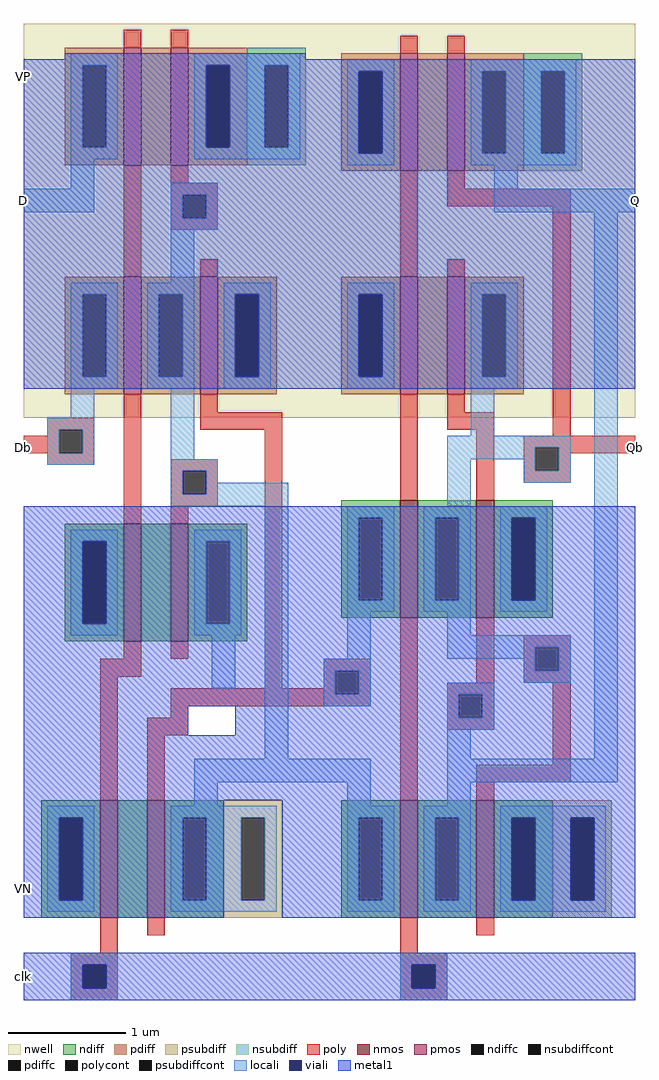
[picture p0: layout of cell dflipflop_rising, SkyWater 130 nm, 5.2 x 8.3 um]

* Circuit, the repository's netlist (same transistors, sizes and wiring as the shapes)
* SPICE3 file created from /home/madvlsi/Documents/Miniproject2/dflipflop_rising.ext - technology: sky130A

.subckt home/madvlsi/Documents/Miniproject2/dflipflop_rising clk VN Db VP D Qb
X0 a_30_450# clk VN VN sky130_fd_pr__nfet_01v8 ad=2.5e+11p pd=2.5e+06u as=3e+12p ps=1.8e+07u w=1e+06u l=150000u
X1 VP Qb a_500_1250# VP sky130_fd_pr__pfet_01v8 ad=2.5e+12p pd=1.5e+07u as=2.5e+11p ps=2.5e+06u w=1e+06u l=150000u
X2 VN Qb VP VN sky130_fd_pr__nfet_01v8 ad=0p pd=0u as=1.5e+12p ps=9e+06u w=1e+06u l=150000u
X3 VP VN a_30_1260# VP sky130_fd_pr__pfet_01v8 ad=0p pd=0u as=2.5e+11p ps=2.5e+06u w=1e+06u l=150000u
X4 VP a_40_n50# VN VP sky130_fd_pr__pfet_01v8 ad=0p pd=0u as=1.5e+12p ps=9e+06u w=1e+06u l=150000u
X5 VP clk VN VN sky130_fd_pr__nfet_01v8 ad=0p pd=0u as=0p ps=0u w=1e+06u l=150000u
X6 VN a_40_n50# a_n10_n20# VN sky130_fd_pr__nfet_01v8 ad=0p pd=0u as=2.5e+11p ps=2.5e+06u w=1e+06u l=150000u
X7 a_30_1260# clk D VP sky130_fd_pr__pfet_01v8 ad=0p pd=0u as=5e+11p ps=3e+06u w=1e+06u l=150000u
X8 a_n10_n20# clk VN VN sky130_fd_pr__nfet_01v8 ad=0p pd=0u as=0p ps=0u w=1e+06u l=150000u
X9 Qb VP a_500_870# VP sky130_fd_pr__pfet_01v8 ad=5e+11p pd=3e+06u as=2.5e+11p ps=2.5e+06u w=1e+06u l=150000u
X10 a_500_1250# clk VP VP sky130_fd_pr__pfet_01v8 ad=0p pd=0u as=0p ps=0u w=1e+06u l=150000u
X11 VN VP Qb VN sky130_fd_pr__nfet_01v8 ad=0p pd=0u as=5e+11p ps=3e+06u w=1e+06u l=150000u
X12 a_110_450# VN a_30_450# VN sky130_fd_pr__nfet_01v8 ad=5e+11p pd=3e+06u as=0p ps=0u w=1e+06u l=150000u
X13 a_500_870# clk VP VP sky130_fd_pr__pfet_01v8 ad=0p pd=0u as=0p ps=0u w=1e+06u l=150000u
X14 VN clk Db VP sky130_fd_pr__pfet_01v8 ad=0p pd=0u as=5e+11p ps=3e+06u w=1e+06u l=150000u
X15 Qb clk a_40_n50# VN sky130_fd_pr__nfet_01v8 ad=0p pd=0u as=5e+11p ps=3e+06u w=1e+06u l=150000u
.ends

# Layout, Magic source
magic
tech sky130A
<< nwell >>
rect -85 415 435 750
<< nmos >>
rect 0 225 15 325
rect 40 225 55 325
rect 235 245 250 345
rect 300 245 315 345
rect -20 -10 -5 90
rect 20 -10 35 90
rect 235 -10 250 90
rect 300 -10 315 90
<< pmos >>
rect 0 630 15 730
rect 40 630 55 730
rect 235 625 250 725
rect 275 625 290 725
rect 0 435 15 535
rect 65 435 80 535
rect 235 435 250 535
rect 275 435 290 535
<< ndiff >>
rect -50 310 0 325
rect -50 240 -35 310
rect -15 240 0 310
rect -50 225 0 240
rect 15 225 40 325
rect 55 310 105 325
rect 55 240 70 310
rect 90 240 105 310
rect 55 225 105 240
rect 185 330 235 345
rect 185 260 200 330
rect 220 260 235 330
rect 185 245 235 260
rect 250 330 300 345
rect 250 260 265 330
rect 285 260 300 330
rect 250 245 300 260
rect 315 330 365 345
rect 315 260 330 330
rect 350 260 365 330
rect 315 245 365 260
rect -70 75 -20 90
rect -70 5 -55 75
rect -35 5 -20 75
rect -70 -10 -20 5
rect -5 -10 20 90
rect 35 75 85 90
rect 35 5 50 75
rect 70 5 85 75
rect 35 -10 85 5
rect 185 75 235 90
rect 185 5 200 75
rect 220 5 235 75
rect 185 -10 235 5
rect 250 75 300 90
rect 250 5 265 75
rect 285 5 300 75
rect 250 -10 300 5
rect 315 75 365 90
rect 315 5 330 75
rect 350 5 365 75
rect 315 -10 365 5
<< pdiff >>
rect -50 715 0 730
rect -50 645 -35 715
rect -15 645 0 715
rect -50 630 0 645
rect 15 630 40 730
rect 55 715 105 730
rect 55 645 70 715
rect 90 645 105 715
rect 55 630 105 645
rect 185 710 235 725
rect 185 640 200 710
rect 220 640 235 710
rect 185 625 235 640
rect 250 625 275 725
rect 290 710 340 725
rect 290 640 305 710
rect 325 640 340 710
rect 290 625 340 640
rect -50 520 0 535
rect -50 450 -35 520
rect -15 450 0 520
rect -50 435 0 450
rect 15 520 65 535
rect 15 450 30 520
rect 50 450 65 520
rect 15 435 65 450
rect 80 520 130 535
rect 80 450 95 520
rect 115 450 130 520
rect 80 435 130 450
rect 185 520 235 535
rect 185 450 200 520
rect 220 450 235 520
rect 185 435 235 450
rect 250 435 275 535
rect 290 520 340 535
rect 290 450 305 520
rect 325 450 340 520
rect 290 435 340 450
<< ndiffc >>
rect -35 240 -15 310
rect 70 240 90 310
rect 200 260 220 330
rect 265 260 285 330
rect 330 260 350 330
rect -55 5 -35 75
rect 50 5 70 75
rect 200 5 220 75
rect 265 5 285 75
rect 330 5 350 75
<< pdiffc >>
rect -35 645 -15 715
rect 70 645 90 715
rect 200 640 220 710
rect 305 640 325 710
rect -35 450 -15 520
rect 30 450 50 520
rect 95 450 115 520
rect 200 450 220 520
rect 305 450 325 520
<< psubdiff >>
rect 85 75 135 90
rect 85 5 100 75
rect 120 5 135 75
rect 85 -10 135 5
rect 365 75 415 90
rect 365 5 380 75
rect 400 5 415 75
rect 365 -10 415 5
<< nsubdiff >>
rect 105 715 155 730
rect 105 645 120 715
rect 140 645 155 715
rect 105 630 155 645
rect 340 710 390 725
rect 340 640 355 710
rect 375 640 390 710
rect 340 625 390 640
<< psubdiffcont >>
rect 100 5 120 75
rect 380 5 400 75
<< nsubdiffcont >>
rect 120 645 140 715
rect 355 640 375 710
<< poly >>
rect 0 730 15 745
rect 40 730 55 745
rect 235 725 250 740
rect 275 725 290 740
rect 0 535 15 630
rect 40 615 55 630
rect 40 605 80 615
rect 40 585 50 605
rect 70 585 80 605
rect 40 575 80 585
rect 65 535 80 550
rect 235 535 250 625
rect 275 610 290 625
rect 275 595 380 610
rect 275 535 290 550
rect -65 405 -25 415
rect -65 400 -55 405
rect -85 385 -55 400
rect -35 385 -25 405
rect -65 375 -25 385
rect 0 325 15 435
rect 65 420 80 435
rect 65 405 135 420
rect 40 370 80 380
rect 40 350 50 370
rect 70 350 80 370
rect 40 340 80 350
rect 40 325 55 340
rect 0 210 15 225
rect 40 210 55 225
rect -20 195 15 210
rect -20 90 -5 195
rect 120 185 135 405
rect 235 345 250 435
rect 275 420 290 435
rect 275 405 315 420
rect 300 345 315 405
rect 365 400 380 595
rect 340 390 435 400
rect 340 370 350 390
rect 370 385 435 390
rect 370 370 380 385
rect 340 360 380 370
rect 170 200 210 210
rect 170 185 180 200
rect 40 180 180 185
rect 200 180 210 200
rect 40 170 210 180
rect 40 160 55 170
rect 20 145 55 160
rect 20 90 35 145
rect 235 90 250 245
rect 300 190 315 245
rect 340 220 380 230
rect 340 200 350 220
rect 370 200 380 220
rect 340 190 380 200
rect 275 180 315 190
rect 275 160 285 180
rect 305 160 315 180
rect 275 150 315 160
rect 365 120 380 190
rect 300 105 380 120
rect 300 90 315 105
rect -20 -40 -5 -10
rect 20 -25 35 -10
rect -45 -50 -5 -40
rect -45 -70 -35 -50
rect -15 -70 -5 -50
rect -45 -80 -5 -70
rect 235 -40 250 -10
rect 300 -25 315 -10
rect 235 -50 275 -40
rect 235 -70 245 -50
rect 265 -70 275 -50
rect 235 -80 275 -70
<< polycont >>
rect 50 585 70 605
rect -55 385 -35 405
rect 50 350 70 370
rect 350 370 370 390
rect 180 180 200 200
rect 350 200 370 220
rect 285 160 305 180
rect -35 -70 -15 -50
rect 245 -70 265 -50
<< locali >>
rect -45 715 -5 725
rect -45 645 -35 715
rect -15 645 -5 715
rect -45 635 -5 645
rect 60 715 150 725
rect 60 645 70 715
rect 90 645 120 715
rect 140 645 150 715
rect 60 635 150 645
rect 190 710 230 720
rect 190 640 200 710
rect 220 640 230 710
rect -45 610 -25 635
rect 190 630 230 640
rect 295 710 385 720
rect 295 640 305 710
rect 325 640 355 710
rect 375 640 385 710
rect 295 630 385 640
rect -85 590 -25 610
rect 40 605 80 615
rect 40 585 50 605
rect 70 585 80 605
rect 315 610 335 630
rect 315 590 435 610
rect 40 575 80 585
rect 40 530 60 575
rect -45 520 -5 530
rect -45 450 -35 520
rect -15 450 -5 520
rect -45 440 -5 450
rect 20 520 60 530
rect 20 450 30 520
rect 50 450 60 520
rect 20 440 60 450
rect 85 520 125 530
rect 85 450 95 520
rect 115 450 125 520
rect 85 440 125 450
rect 190 520 230 530
rect 190 450 200 520
rect 220 450 230 520
rect 190 440 230 450
rect 295 520 335 530
rect 295 450 305 520
rect 325 450 335 520
rect 295 440 335 450
rect -45 415 -25 440
rect -65 405 -25 415
rect -65 385 -55 405
rect -35 385 -25 405
rect -65 375 -25 385
rect 40 380 60 440
rect 295 400 315 440
rect 275 390 380 400
rect 275 380 350 390
rect 40 370 80 380
rect 40 350 50 370
rect 70 360 80 370
rect 70 350 140 360
rect 40 340 140 350
rect 275 340 295 380
rect 340 370 350 380
rect 370 370 380 390
rect 340 360 380 370
rect -45 310 -5 320
rect -45 240 -35 310
rect -15 240 -5 310
rect -45 230 -5 240
rect 60 310 100 320
rect 60 240 70 310
rect 90 240 100 310
rect 60 230 100 240
rect 75 185 95 230
rect 120 125 140 340
rect 190 330 230 340
rect 190 260 200 330
rect 220 260 230 330
rect 190 250 230 260
rect 255 330 295 340
rect 255 260 265 330
rect 285 260 295 330
rect 255 250 295 260
rect 320 330 360 340
rect 320 260 330 330
rect 350 260 360 330
rect 320 250 360 260
rect 190 210 210 250
rect 275 230 295 250
rect 275 220 380 230
rect 275 210 350 220
rect 170 200 210 210
rect 170 180 180 200
rect 200 180 210 200
rect 340 200 350 210
rect 370 200 380 220
rect 340 190 380 200
rect 170 170 210 180
rect 275 180 315 190
rect 275 160 285 180
rect 305 160 315 180
rect 275 150 315 160
rect 275 125 295 150
rect 400 125 420 590
rect 60 105 210 125
rect 60 85 80 105
rect 190 85 210 105
rect 275 105 420 125
rect 275 85 295 105
rect -65 75 -25 85
rect -65 5 -55 75
rect -35 5 -25 75
rect -65 -5 -25 5
rect 40 75 130 85
rect 40 5 50 75
rect 70 5 100 75
rect 120 5 130 75
rect 40 -5 130 5
rect 190 75 230 85
rect 190 5 200 75
rect 220 5 230 75
rect 190 -5 230 5
rect 255 75 295 85
rect 255 5 265 75
rect 285 5 295 75
rect 255 -5 295 5
rect 320 75 410 85
rect 320 5 330 75
rect 350 5 380 75
rect 400 5 410 75
rect 320 -5 410 5
rect -45 -50 -5 -40
rect -45 -70 -35 -50
rect -15 -70 -5 -50
rect -45 -80 -5 -70
rect 235 -50 275 -40
rect 235 -70 245 -50
rect 265 -70 275 -50
rect 235 -80 275 -70
<< viali >>
rect 70 645 90 715
rect 200 640 220 710
rect 95 450 115 520
rect 200 450 220 520
rect -35 240 -15 310
rect 330 260 350 330
rect -55 5 -35 75
rect 330 5 350 75
rect 380 5 400 75
rect -35 -70 -15 -50
rect 245 -70 265 -50
<< metal1 >>
rect -50 720 155 725
rect -85 715 435 720
rect -85 645 70 715
rect 90 710 435 715
rect 90 645 200 710
rect -85 640 200 645
rect 220 640 435 710
rect -85 520 435 640
rect -85 450 95 520
rect 115 450 200 520
rect 220 450 435 520
rect -85 440 435 450
rect -85 330 435 340
rect -85 310 330 330
rect -85 240 -35 310
rect -15 260 330 310
rect 350 260 435 330
rect -15 240 435 260
rect -85 170 435 240
rect -85 145 55 170
rect 95 145 435 170
rect -85 90 435 145
rect -85 75 85 90
rect -85 5 -55 75
rect -35 5 85 75
rect -85 -10 85 5
rect 135 75 435 90
rect 135 5 330 75
rect 350 5 380 75
rect 400 5 435 75
rect 135 -10 435 5
rect -85 -50 435 -40
rect -85 -70 -35 -50
rect -15 -70 245 -50
rect 265 -70 435 -50
rect -85 -80 435 -70
<< labels >>
rlabel locali -85 600 -85 600 7 D
port 1 w
rlabel poly -85 390 -85 390 7 Db
port 2 w
rlabel metal1 -85 705 -85 705 7 VP
port 3 w
rlabel metal1 -85 15 -85 15 7 VN
port 4 w
rlabel metal1 -85 -60 -85 -60 7 clk
port 5 w
rlabel locali 435 600 435 600 3 Q
port 6 e
rlabel poly 435 390 435 390 3 Qb
port 7 e
<< end >>
